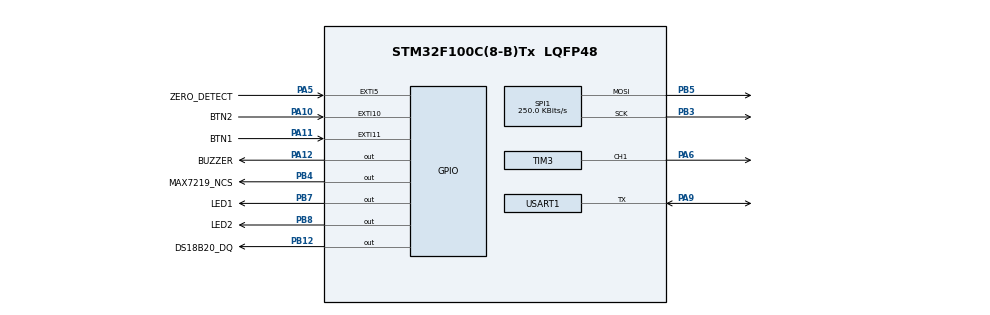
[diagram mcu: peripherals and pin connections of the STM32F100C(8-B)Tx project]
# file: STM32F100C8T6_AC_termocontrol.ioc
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Mcu.Family=STM32F1
Mcu.Name=STM32F100C(8-B)Tx
Mcu.Package=LQFP48
NVIC.EXTI15_10_IRQn=true\:0\:0\:false\:false\:true\:true\:true\:true
NVIC.EXTI9_5_IRQn=true\:0\:0\:false\:false\:true\:true\:true\:true
NVIC.PriorityGroup=NVIC_PRIORITYGROUP_4
NVIC.TIM2_IRQn=true\:0\:0\:false\:false\:true\:true\:true\:true
NVIC.USART1_IRQn=true\:0\:0\:false\:false\:true\:true\:true\:true
PA10.GPIO_Label=BTN2
PA10.Signal=GPXTI10
PA11.GPIO_Label=BTN1
PA11.GPIO_ModeDefaultEXTI=GPIO_MODE_IT_FALLING
PA11.Signal=GPXTI11
PA12.GPIO_Label=BUZZER
PA12.Signal=GPIO_Output
PA13.Mode=Serial_Wire
PA13.Signal=SYS_JTMS-SWDIO
PA14.Mode=Serial_Wire
PA14.Signal=SYS_JTCK-SWCLK
PA5.GPIO_Label=ZERO_DETECT
PA5.GPIO_ModeDefaultEXTI=GPIO_MODE_IT_FALLING
PA5.Signal=GPXTI5
PA6.Signal=S_TIM3_CH1
PA9.Mode=Half_duplex(single_wire_mode)
PA9.Signal=USART1_TX
PB12.GPIO_Label=DS18B20_DQ
PB12.GPIO_ModeDefaultOutputPP=GPIO_MODE_OUTPUT_OD
PB12.GPIO_PuPd=GPIO_NOPULL
PB12.Signal=GPIO_Output
PB3.Mode=TX_Only_Simplex_Unidirect_Master
PB3.Signal=SPI1_SCK
PB4.GPIO_Label=MAX7219_NCS
PB4.Signal=GPIO_Output
PB5.Mode=TX_Only_Simplex_Unidirect_Master
PB5.Signal=SPI1_MOSI
PB7.GPIO_Label=LED1
PB7.Signal=GPIO_Output
PB8.GPIO_Label=LED2
PB8.Signal=GPIO_Output
PD0-OSC_IN.Mode=HSE-External-Oscillator
PD0-OSC_IN.Signal=RCC_OSC_IN
PD1-OSC_OUT.Mode=HSE-External-Oscillator
PD1-OSC_OUT.Signal=RCC_OSC_OUT
ProjectManager.HeapSize=0x200
ProjectManager.StackSize=0x400
ProjectManager.TargetToolchain=STM32CubeIDE
RCC.APB1Freq_Value=8000000
RCC.APB2Freq_Value=8000000
SH.S_TIM3_CH1.0=TIM3_CH1,PWM Generation1 CH1
SPI1.BaudRatePrescaler=SPI_BAUDRATEPRESCALER_32
SPI1.CalculateBaudRate=250.0 KBits/s
SPI1.DataSize=SPI_DATASIZE_8BIT
SPI1.Direction=SPI_DIRECTION_2LINES
SPI1.Mode=SPI_MODE_MASTER
SPI1.VirtualType=VM_MASTER
TIM2.Period=100
TIM2.Prescaler=2000
TIM3.Channel-PWM\ Generation1\ CH1=TIM_CHANNEL_1
TIM3.OCMode_PWM-PWM\ Generation1\ CH1=TIM_OCMODE_PWM2
TIM3.Period=9000
TIM3.Prescaler=7
TIM3.Pulse-PWM\ Generation1\ CH1=9000
USART1.VirtualMode=VM_ASYNC
VP_TIM2_VS_ClockSourceINT.Mode=Internal
VP_TIM3_VS_ClockSourceINT.Mode=Internal
VP_TIM3_VS_OPM.Mode=OPM_bit
board=custom

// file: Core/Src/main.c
/* USER CODE BEGIN Header */
/**
 ******************************************************************************
 * @file           : main.c
 * @brief          : Main program body
 ******************************************************************************
 * @attention
 *
 * Copyright (c) 2022 STMicroelectronics.
 * All rights reserved.
 *
 * This software is licensed under terms that can be found in the LICENSE file
 * in the root directory of this software component.
 * If no LICENSE file comes with this software, it is provided AS-IS.
 *
 ******************************************************************************
 */
/* USER CODE END Header */
#include "main.h"

/* USER CODE BEGIN Includes */
#include "OneWire.h"

#include "Control_module.h"
#include "pid.h"
/* USER CODE END Includes */

/* USER CODE BEGIN PTD */
#define DEFAULT_TEMPERATURE 72
// Коефіцієнти для PID регулятора
#define K_P     240
#define K_I     0.06
#define K_D     0.0
// значення PID перераховутиметься кожні 500 мС
#define TIME_INTERVAL   500
struct GLOBAL_FLAGS
{
	uint8_t pidTimer :1;
	uint8_t dummy :7;
} gFlags =
{ 0, 0 };

struct PID_DATA pidData;

typedef enum
{
	SHOW_TEMPERATURE, ADJUST_TEMPERATURE
} state_t;

/* USER CODE END PTD */

SPI_HandleTypeDef hspi1;

TIM_HandleTypeDef htim2;
TIM_HandleTypeDef htim3;

UART_HandleTypeDef huart1;

/* USER CODE BEGIN PV */
extern float Temp[MAXDEVICES_ON_THE_BUS];
extern OneWire ow;
extern char SEG;
volatile uint8_t target_temperature = DEFAULT_TEMPERATURE;
volatile int display_buffer_int = 0;
uint32_t previousMillis = 0;
uint32_t currentMillis = 0;
bool btn1_pressed_flag;
bool btn2_pressed_flag;
uint32_t tick = 0;
uint16_t dimmer_value = 0;
bool sensor_state_flag = true;
/* USER CODE END PV */

void SystemClock_Config(void);
static void MX_GPIO_Init(void);
static void MX_USART1_UART_Init(void);
static void MX_SPI1_Init(void);
static void MX_TIM2_Init(void);
static void MX_TIM3_Init(void);
/* USER CODE BEGIN PFP */
void show_temperature_handler(void);
void adjust_temperature_handler(void);
int16_t get_Measurement(void);
int16_t get_Reference(void);
void set_triac_value(int16_t inputValue);
void PID_init(void);

/* USER CODE END PFP */

/* USER CODE BEGIN 0 */

state_t program_state = SHOW_TEMPERATURE;
/* USER CODE END 0 */

int main(void)
{

	/* MCU Configuration--------------------------------------------------------*/

	/* Reset of all peripherals, Initializes the Flash interface and the Systick. */
	HAL_Init();

	/* Configure the system clock */
	SystemClock_Config();

	/* Initialize all configured peripherals */
	MX_GPIO_Init();
	MX_USART1_UART_Init();
	MX_SPI1_Init();
	MX_TIM2_Init();
	MX_TIM3_Init();
	/* USER CODE BEGIN 2 */
	MAX7219_clear();

	get_ROMid();

	MAX7219_init();

	PID_init();

	int16_t referenceValue, measurementValue, inputValue;

	/* USER CODE END 2 */

	/* Infinite loop */
	/* USER CODE BEGIN WHILE */
	while (1)
	{

		if (btn1_pressed_flag || btn2_pressed_flag)
		{
			btn1_pressed_flag = false;
			btn2_pressed_flag = false;
			program_state = ADJUST_TEMPERATURE;

		}

		switch (program_state)
		{
		case SHOW_TEMPERATURE:
			show_temperature_handler();
			break;

		case ADJUST_TEMPERATURE:
			adjust_temperature_handler();
			break;
		default:
			show_temperature_handler();
		}
		MAX7219_print_temperature(display_buffer_int);
		// Розрахунок значення для PID по-таймеру
		if (gFlags.pidTimer)
		{
			referenceValue = get_Reference();
			measurementValue = get_Measurement();

			inputValue = pid_Controller(referenceValue, measurementValue,
					&pidData);

			set_triac_value(inputValue);

			gFlags.pidTimer = FALSE;
		}

		/* USER CODE END WHILE */

	}
}

void SystemClock_Config(void)
{
	RCC_OscInitTypeDef RCC_OscInitStruct =
	{ 0 };
	RCC_ClkInitTypeDef RCC_ClkInitStruct =
	{ 0 };

	/** Initializes the RCC Oscillators according to the specified parameters
	 * in the RCC_OscInitTypeDef structure.
	 */
	RCC_OscInitStruct.OscillatorType = RCC_OSCILLATORTYPE_HSI;
	RCC_OscInitStruct.HSIState = RCC_HSI_ON;
	RCC_OscInitStruct.HSICalibrationValue = RCC_HSICALIBRATION_DEFAULT;
	RCC_OscInitStruct.PLL.PLLState = RCC_PLL_NONE;
	if (HAL_RCC_OscConfig(&RCC_OscInitStruct) != HAL_OK)
	{
		Error_Handler();
	}

	/** Initializes the CPU, AHB and APB buses clocks
	 */
	RCC_ClkInitStruct.ClockType = RCC_CLOCKTYPE_HCLK | RCC_CLOCKTYPE_SYSCLK
			| RCC_CLOCKTYPE_PCLK1 | RCC_CLOCKTYPE_PCLK2;
	RCC_ClkInitStruct.SYSCLKSource = RCC_SYSCLKSOURCE_HSI;
	RCC_ClkInitStruct.AHBCLKDivider = RCC_SYSCLK_DIV1;
	RCC_ClkInitStruct.APB1CLKDivider = RCC_HCLK_DIV1;
	RCC_ClkInitStruct.APB2CLKDivider = RCC_HCLK_DIV1;

	if (HAL_RCC_ClockConfig(&RCC_ClkInitStruct, FLASH_LATENCY_0) != HAL_OK)
	{
		Error_Handler();
	}
}

static void MX_SPI1_Init(void)
{

	/* SPI1 parameter configuration*/
	hspi1.Instance = SPI1;
	hspi1.Init.Mode = SPI_MODE_MASTER;
	hspi1.Init.Direction = SPI_DIRECTION_2LINES;
	hspi1.Init.DataSize = SPI_DATASIZE_8BIT;
	hspi1.Init.CLKPolarity = SPI_POLARITY_LOW;
	hspi1.Init.CLKPhase = SPI_PHASE_1EDGE;
	hspi1.Init.NSS = SPI_NSS_SOFT;
	hspi1.Init.BaudRatePrescaler = SPI_BAUDRATEPRESCALER_32;
	hspi1.Init.FirstBit = SPI_FIRSTBIT_MSB;
	hspi1.Init.TIMode = SPI_TIMODE_DISABLE;
	hspi1.Init.CRCCalculation = SPI_CRCCALCULATION_DISABLE;
	hspi1.Init.CRCPolynomial = 10;
	if (HAL_SPI_Init(&hspi1) != HAL_OK)
	{
		Error_Handler();
	}

}

static void MX_TIM2_Init(void)
{

	TIM_ClockConfigTypeDef sClockSourceConfig =
	{ 0 };
	TIM_MasterConfigTypeDef sMasterConfig =
	{ 0 };

	htim2.Instance = TIM2;
	htim2.Init.Prescaler = 2000;
	htim2.Init.CounterMode = TIM_COUNTERMODE_UP;
	htim2.Init.Period = 100;
	htim2.Init.ClockDivision = TIM_CLOCKDIVISION_DIV1;
	htim2.Init.AutoReloadPreload = TIM_AUTORELOAD_PRELOAD_DISABLE;
	if (HAL_TIM_Base_Init(&htim2) != HAL_OK)
	{
		Error_Handler();
	}
	sClockSourceConfig.ClockSource = TIM_CLOCKSOURCE_INTERNAL;
	if (HAL_TIM_ConfigClockSource(&htim2, &sClockSourceConfig) != HAL_OK)
	{
		Error_Handler();
	}
	sMasterConfig.MasterOutputTrigger = TIM_TRGO_RESET;
	sMasterConfig.MasterSlaveMode = TIM_MASTERSLAVEMODE_DISABLE;
	if (HAL_TIMEx_MasterConfigSynchronization(&htim2, &sMasterConfig) != HAL_OK)
	{
		Error_Handler();
	}

}

static void MX_TIM3_Init(void)
{

	TIM_ClockConfigTypeDef sClockSourceConfig =
	{ 0 };
	TIM_MasterConfigTypeDef sMasterConfig =
	{ 0 };
	TIM_OC_InitTypeDef sConfigOC =
	{ 0 };

	htim3.Instance = TIM3;
	htim3.Init.Prescaler = 7;
	htim3.Init.CounterMode = TIM_COUNTERMODE_UP;
	htim3.Init.Period = 9000;
	htim3.Init.ClockDivision = TIM_CLOCKDIVISION_DIV1;
	htim3.Init.AutoReloadPreload = TIM_AUTORELOAD_PRELOAD_DISABLE;
	if (HAL_TIM_Base_Init(&htim3) != HAL_OK)
	{
		Error_Handler();
	}
	sClockSourceConfig.ClockSource = TIM_CLOCKSOURCE_INTERNAL;
	if (HAL_TIM_ConfigClockSource(&htim3, &sClockSourceConfig) != HAL_OK)
	{
		Error_Handler();
	}
	if (HAL_TIM_PWM_Init(&htim3) != HAL_OK)
	{
		Error_Handler();
	}
	if (HAL_TIM_OnePulse_Init(&htim3, TIM_OPMODE_SINGLE) != HAL_OK)
	{
		Error_Handler();
	}
	sMasterConfig.MasterOutputTrigger = TIM_TRGO_RESET;
	sMasterConfig.MasterSlaveMode = TIM_MASTERSLAVEMODE_DISABLE;
	if (HAL_TIMEx_MasterConfigSynchronization(&htim3, &sMasterConfig) != HAL_OK)
	{
		Error_Handler();
	}
	sConfigOC.OCMode = TIM_OCMODE_PWM2;
	sConfigOC.Pulse = 9000;
	sConfigOC.OCPolarity = TIM_OCPOLARITY_HIGH;
	sConfigOC.OCFastMode = TIM_OCFAST_DISABLE;
	if (HAL_TIM_PWM_ConfigChannel(&htim3, &sConfigOC, TIM_CHANNEL_1) != HAL_OK)
	{
		Error_Handler();
	}
	HAL_TIM_MspPostInit(&htim3);

}

static void MX_USART1_UART_Init(void)
{

	huart1.Instance = USART1;
	huart1.Init.BaudRate = 115200;
	huart1.Init.WordLength = UART_WORDLENGTH_8B;
	huart1.Init.StopBits = UART_STOPBITS_1;
	huart1.Init.Parity = UART_PARITY_NONE;
	huart1.Init.Mode = UART_MODE_TX_RX;
	huart1.Init.HwFlowCtl = UART_HWCONTROL_NONE;
	huart1.Init.OverSampling = UART_OVERSAMPLING_16;
	if (HAL_HalfDuplex_Init(&huart1) != HAL_OK)
	{
		Error_Handler();
	}

}

static void MX_GPIO_Init(void)
{
	GPIO_InitTypeDef GPIO_InitStruct =
	{ 0 };

	/* GPIO Ports Clock Enable */
	__HAL_RCC_GPIOD_CLK_ENABLE();
	__HAL_RCC_GPIOA_CLK_ENABLE();
	__HAL_RCC_GPIOB_CLK_ENABLE();

	/*Configure GPIO pin Output Level */
	HAL_GPIO_WritePin(GPIOB,
	DS18B20_DQ_Pin | MAX7219_NCS_Pin | LED1_Pin | LED2_Pin, GPIO_PIN_RESET);

	/*Configure GPIO pin Output Level */
	HAL_GPIO_WritePin(BUZZER_GPIO_Port, BUZZER_Pin, GPIO_PIN_RESET);

	/*Configure GPIO pins : ZERO_DETECT_Pin BTN1_Pin */
	GPIO_InitStruct.Pin = ZERO_DETECT_Pin | BTN1_Pin;
	GPIO_InitStruct.Mode = GPIO_MODE_IT_FALLING;
	GPIO_InitStruct.Pull = GPIO_NOPULL;
	HAL_GPIO_Init(GPIOA, &GPIO_InitStruct);

	/*Configure GPIO pin : DS18B20_DQ_Pin */
	GPIO_InitStruct.Pin = DS18B20_DQ_Pin;
	GPIO_InitStruct.Mode = GPIO_MODE_OUTPUT_OD;
	GPIO_InitStruct.Pull = GPIO_NOPULL;
	GPIO_InitStruct.Speed = GPIO_SPEED_FREQ_LOW;
	HAL_GPIO_Init(DS18B20_DQ_GPIO_Port, &GPIO_InitStruct);

	/*Configure GPIO pin : BTN2_Pin */
	GPIO_InitStruct.Pin = BTN2_Pin;
	GPIO_InitStruct.Mode = GPIO_MODE_IT_RISING;
	GPIO_InitStruct.Pull = GPIO_NOPULL;
	HAL_GPIO_Init(BTN2_GPIO_Port, &GPIO_InitStruct);

	/*Configure GPIO pin : BUZZER_Pin */
	GPIO_InitStruct.Pin = BUZZER_Pin;
	GPIO_InitStruct.Mode = GPIO_MODE_OUTPUT_PP;
	GPIO_InitStruct.Pull = GPIO_NOPULL;
	GPIO_InitStruct.Speed = GPIO_SPEED_FREQ_LOW;
	HAL_GPIO_Init(BUZZER_GPIO_Port, &GPIO_InitStruct);

	/*Configure GPIO pins : MAX7219_NCS_Pin LED1_Pin LED2_Pin */
	GPIO_InitStruct.Pin = MAX7219_NCS_Pin | LED1_Pin | LED2_Pin;
	GPIO_InitStruct.Mode = GPIO_MODE_OUTPUT_PP;
	GPIO_InitStruct.Pull = GPIO_NOPULL;
	GPIO_InitStruct.Speed = GPIO_SPEED_FREQ_LOW;
	HAL_GPIO_Init(GPIOB, &GPIO_InitStruct);

	/* EXTI interrupt init*/
	HAL_NVIC_SetPriority(EXTI9_5_IRQn, 0, 0);
	HAL_NVIC_EnableIRQ(EXTI9_5_IRQn);

	HAL_NVIC_SetPriority(EXTI15_10_IRQn, 0, 0);
	HAL_NVIC_EnableIRQ(EXTI15_10_IRQn);

}

/* USER CODE BEGIN 4 */
void show_temperature_handler(void)
{
	MAX7219_set_brightness(14);
	get_Temperature();
	display_buffer_int = Temp[0];

}
void adjust_temperature_handler(void)
{

	uwTick = 0;
	while (HAL_GetTick() < 3000)
	{
		MAX7219_set_brightness(0);
		display_buffer_int = target_temperature;
		if (btn1_pressed_flag)
		{
			btn1_pressed_flag = false;
			target_temperature -= 1;

			uwTick = 0;
		}

		if (btn2_pressed_flag)
		{
			btn2_pressed_flag = false;
			target_temperature += 1;
			uwTick = 0;
		}
		MAX7219_print_temperature(target_temperature);

	}

	program_state = SHOW_TEMPERATURE;
}
void HAL_GPIO_EXTI_Callback(uint16_t GPIO_Pin)
{
	currentMillis = HAL_GetTick();
	if (GPIO_Pin == BTN1_Pin && (currentMillis - previousMillis > 150))
	{
		btn1_pressed_flag = true;
		previousMillis = currentMillis;
	}
	if (GPIO_Pin == BTN2_Pin && (currentMillis - previousMillis > 150))
	{
		btn2_pressed_flag = true;
		previousMillis = currentMillis;
	}

	if (GPIO_Pin == ZERO_DETECT_Pin)
	{
		HAL_TIM_PWM_Stop(&htim3, TIM_CHANNEL_1);
		HAL_TIM_PWM_Start(&htim3, TIM_CHANNEL_1);
	}

}

void SysTick_Handler(void)
{
	/* USER CODE BEGIN SysTick_IRQn 0 */
	static uint16_t i = 0;
	if (i < TIME_INTERVAL)
		i++;
	else
	{
		gFlags.pidTimer = TRUE;
		i = 0;
		if (sensor_state_flag)
		{
			HAL_GPIO_TogglePin(LED2_GPIO_Port, LED2_Pin);
		}
	}
	/* USER CODE END SysTick_IRQn 0 */
	HAL_IncTick();
	/* USER CODE BEGIN SysTick_IRQn 1 */

	/* USER CODE END SysTick_IRQn 1 */
}
void PID_init(void)
{
	pid_Init(K_P, K_I, K_D, &pidData);

}

int16_t get_Reference(void)
{
	return target_temperature;
}

int16_t get_Measurement(void)
{
	return display_buffer_int;
}

void set_triac_value(int16_t inputValue)
{
	if (inputValue > 9000)
		inputValue = 9000;
	__HAL_TIM_SET_COMPARE(&htim3, TIM_CHANNEL_1, 9000 - inputValue);
}

void sensor_error_handler(void)
{
	//Проблеми з підключенням сенсора
	//1) Відключаю переривання
	HAL_NVIC_DisableIRQ(EXTI9_5_IRQn);
	set_triac_value(0);
	sensor_state_flag = false;
	HAL_GPIO_WritePin(LED2_GPIO_Port, LED2_Pin, false);
	//2) Сигналізуюю про обрив сенсора
	MAX7219_clear();
	//Err
	MAX7219_print_char(0, 0x4F);
	MAX7219_print_char(1, 0x05);
	MAX7219_print_char(2, 0x05);

	while (1)
	{
		set_buzzer(true);
		LED1_set_state(true);
		MAX7219_set_brightness(0);
		HAL_Delay(200);

		set_buzzer(false);
		LED1_set_state(false);
		MAX7219_set_brightness(15);
		HAL_Delay(200);

	}
}
/* USER CODE END 4 */

void Error_Handler(void)
{
	__disable_irq();
	while (1)
	{
	}
}
